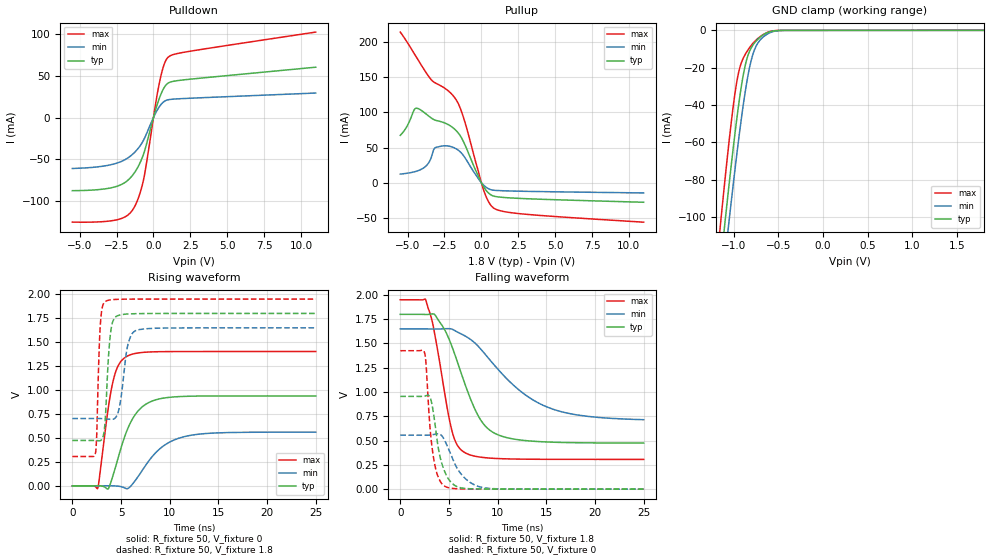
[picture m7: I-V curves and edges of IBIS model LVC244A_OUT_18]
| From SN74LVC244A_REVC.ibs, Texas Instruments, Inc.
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[Model]   LVC244A_OUT_18
Model_type  3-state
Enable   Active-Low
Vref =   0
Rref =   1000
Cref =   30p
Vmeas =   0.9
| variable   typ   min   max
C_comp   4.00pF   3.63pF   4.39pF
| C_pullup   7.31pF   4.25pF   10.61pF
| C_pulldown   7.92pF   3.85pF   14.08pF
| C_tri-state   4.00pF   3.63pF   4.39pF
[Temperature Range]   40   100   -40
| Ambient temperature   25   85   -40
[Voltage range]   1.8   1.65   1.95
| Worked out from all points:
|   slope of the pulldown table from 0 to 0.27 V, typ, clamps not added: 16.5 ohm
|   slope of the pullup table from 0 to 0.27 V, typ, clamps not added: 28.4 ohm
|   GND clamp passes 1 mA (typ) near -0.61 V on its own axis
|   rising waveform, R_fixture 50, V_fixture 0: 20-80 % time 2.1ns typ, 2.98ns min, 1.23ns max; typ from 0 V to 0.939 V
|   falling waveform, R_fixture 50, V_fixture 1.8: 20-80 % time 3.05ns typ, 5.84ns min, 1.73ns max; typ from 1.8 V to 0.474 V
|   rising waveform, R_fixture 50, V_fixture 1.8: 20-80 % time 453ps typ, 718ps min, 305ps max; typ from 0.474 V to 1.8 V
|   falling waveform, R_fixture 50, V_fixture 0: 20-80 % time 1.09ns typ, 1.84ns min, 747ps max; typ from 0.955 V to 0 V
[GND Clamp]
| LVC244A_OUT_18
|   Voltage   I(typ)   I(min)   I(max)
-5.5V     -2.404A    -2.35A     -2.478A
-1.15V    -126.2mA   -144.8mA   -104.1mA
-1.11V    -107.9mA   -126.9mA   -85.11mA
-1.07V    -90mA      -109.4mA   -66.84mA
-1.055V   -83.45mA   -102.9mA   -60.26mA
-965mV    -46.77mA   -65.85mA   -27.11mA
-875mV    -19.37mA   -33.78mA   -13.14mA
-820mV    -10.82mA   -19.09mA   -9.019mA
-775mV    -7.186mA   -11.23mA   -6.379mA
-655mV    -1.928mA   -2.966mA   -1.821mA
-430mV    -20.2uA    -30.69uA   -5.286uA
1.8V      55.22pA    18.39nA    22.67pA
[Pulldown]
| LVC244A_OUT_18
|   Voltage   I(typ)   I(min)   I(max)
-5.5V     -87.22mA   -60.73mA   -124.7mA
-2.615V   -82.71mA   -55.06mA   -122.5mA
-1.825V   -76.07mA   -49.17mA   -117.4mA
-1.325V   -66.69mA   -42.32mA   -107.6mA
-965mV    -56.01mA   -35.1mA    -93.01mA
-650mV    -42.45mA   -26.15mA   -72.29mA
170mV     10.71mA    6.134mA    19.19mA
490mV     27.22mA    15.13mA    48.55mA
765mV     36.88mA    19.69mA    65.36mA
1.035V    41.53mA    21.37mA    72.64mA
2.39V     45.62mA    23.01mA    78.89mA
11V       60.11mA    29.29mA    102mA
[Pullup]
| LVC244A_OUT_18
|   Voltage   I(typ)   I(min)   I(max)
-5.5V     67.37mA    12.28mA    214.3mA
-5.08V    78.92mA    13.34mA    201.5mA
-4.425V   105.9mA    16.22mA    179.4mA
-3.65V    96.16mA    26.1mA     153.6mA
-3.145V   89.1mA     49.54mA    142.2mA
-2.095V   80.77mA    51.55mA    127.9mA
-1.405V   65.91mA    43.3mA     104.5mA
140mV     -5.331mA   -3.219mA   -9.624mA
470mV     -14.4mA    -8.457mA   -26.5mA
805mV     -18.85mA   -10.63mA   -35.64mA
2.8V      -22.54mA   -12.19mA   -44.5mA
11V       -27.81mA   -14.55mA   -56.18mA
[Ramp]
| LVC244A_OUT_18
| variable   typ   min   max
dV/dt_r   0.58/2.13E-09   0.35/3.05E-09   0.86/1.25E-09
dV/dt_f   0.80/3.06E-09   0.56/5.84E-09   0.99/1.74E-09
R_load = 50
[Rising Waveform]
| LVC244A_OUT_18
R_fixture =   50
C_fixture =   0
L_fixture =   0
V_fixture =   0
V_fixture_min = 0
V_fixture_max = 0
|   Time   V(typ)   V(min)   V(max)
0s        303.2pV    3.871nV    100.1pV
2.605ns   848.2uV    18.27uV    -25.84mV
3.65ns    -34.64mV   737.6uV    784mV
4.135ns   94.52mV    299.7uV    1.071V
4.735ns   303.2mV    -3.525mV   1.259V
5.6ns     574.8mV    -30.4mV    1.352V
7.54ns    851.7mV    215.9mV    1.395V
9.17ns    912.6mV    402.2mV    1.401V
11.11ns   932.4mV    503mV      1.402V
24.99ns   938.9mV    560.6mV    1.402V
[Falling Waveform]
| LVC244A_OUT_18
R_fixture =   50
C_fixture =   0
L_fixture =   0
V_fixture =   1.8
V_fixture_min = 1.65
V_fixture_max = 1.95
|   Time   V(typ)   V(min)   V(max)
0s        1.8V       1.65V      1.95V
2.615ns   1.799V     1.65V      1.949V
3.39ns    1.805V     1.649V     1.677V
5.28ns    1.477V     1.649V     612.6mV
6.52ns    1.118V     1.585V     383.3mV
8.33ns    701.9mV    1.435V     328.5mV
10.32ns   548.6mV    1.202V     314.1mV
12.99ns   499mV      960.6mV    308.6mV
15.77ns   483.3mV    820.4mV    307.2mV
24.99ns   474.4mV    715.2mV    306.6mV
[Rising Waveform]
| LVC244A_OUT_18
R_fixture =   50
C_fixture =   0
L_fixture =   0
V_fixture =   1.8
V_fixture_min = 1.65
V_fixture_max = 1.95
|   Time   V(typ)   V(min)   V(max)
0s        473.9mV    702.8mV    306.6mV
2.39ns    473.5mV    703mV      348.6mV
2.505ns   472.8mV    703.1mV    531.4mV
2.88ns    472.1mV    702.7mV    1.687V
3.425ns   769.8mV    698.9mV    1.927V
3.92ns    1.591V     694.4mV    1.942V
4.605ns   1.774V     740mV      1.947V
5.675ns   1.794V     1.46V      1.949V
6.535ns   1.797V     1.622V     1.95V
24.99ns   1.8V       1.65V      1.95V
[Falling Waveform]
| LVC244A_OUT_18
R_fixture =   50
C_fixture =   0
L_fixture =   0
V_fixture =   0
V_fixture_min = 0
V_fixture_max = 0
|   Time   V(typ)   V(min)   V(max)
0s        955.1mV    555.8mV    1.425V
2.495ns   958mV      555.4mV    1.405V
2.66ns    962.9mV    555.3mV    1.272V
3.065ns   944.5mV    557.2mV    626.5mV
3.37ns    809.6mV    561.8mV    356.5mV
3.98ns    384.5mV    568.6mV    107mV
4.565ns   181.4mV    502.2mV    30.08mV
6.185ns   14.79mV    164.1mV    2.825mV
8.305ns   1.927mV    20.19mV    635.3uV
24.99ns   59.85uV    164.4uV    24.01uV
